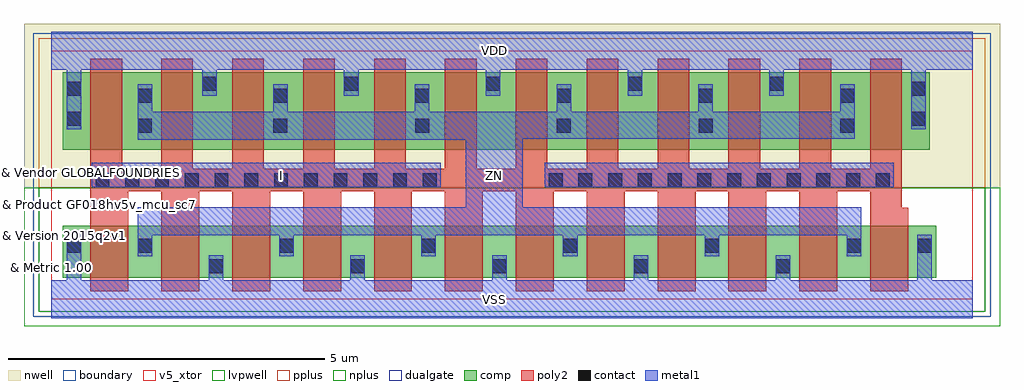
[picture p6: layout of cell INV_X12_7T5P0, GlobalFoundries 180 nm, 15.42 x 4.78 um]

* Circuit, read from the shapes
.subckt INV_X12_7T5P0 I VDD VSS ZN
XM1 ZN I VSS VSUBS nfet_05v0 w=0.82u l=0.6u m=12
XM2 ZN I VDD n1 pfet_05v0 w=1.22u l=0.5u m=12
.ends

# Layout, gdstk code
import gdstk
lib = gdstk.Library(unit=1e-6, precision=1e-09)
def R(c, l, rs):  # rectangles x0, y0, x1, y1
    for r in rs: c.add(gdstk.rectangle(r[:2], r[2:], *l))
def A(c, l, x, y, w, h, nx, ny, dx, dy):  # array of equal rectangles
    R(c, l, [(x+i*dx, y+j*dy, x+i*dx+w, y+j*dy+h) for i in range(nx) for j in range(ny)])
def P(c, l, *ps):  # polygons
    for p in ps: c.add(gdstk.Polygon(p, *l))
boundary = (0, 0)
nwell = (21, 0)
comp = (22, 0)
poly2 = (30, 0)
pplus = (31, 0)
nplus = (32, 0)
contact = (33, 0)
metal1 = (34, 0)
dualgate = (55, 0)
v5_xtor = (112, 1)
lvpwell = (204, 0)

inv_x12_7t5p0 = lib.new_cell('INV_X12_7T5P0')
R(inv_x12_7t5p0, boundary, [(0,0,14.56,3.92)])
R(inv_x12_7t5p0, nwell, [(-0.43,1.76,14.99,4.35)])
R(inv_x12_7t5p0, comp, [(0.18,0.34,13.98,1.16), (0.18,2.36,13.88,3.58)])
P(inv_x12_7t5p0, poly2, [(0.62,0.12),(1.22,0.12),(1.22,1.7),(1.74,1.7),(1.74,0.12),(2.34,0.12),(2.34,1.7),(2.86,1.7),(2.86,0.12),(3.46,0.12),(3.46,1.7),(3.98,1.7),(3.98,0.12),(4.58,0.12),(4.58,1.7),(5.1,1.7),(5.1,0.12),(5.7,0.12),(5.7,1.7),(6.22,1.7),(6.22,0.12),(6.82,0.12),(6.82,1.7),(7.34,1.7),(7.34,0.12),(7.94,0.12),(7.94,1.7),(8.46,1.7),(8.46,0.12),(9.06,0.12),(9.06,1.7),(9.58,1.7),(9.58,0.12),(10.18,0.12),(10.18,1.7),(10.7,1.7),(10.7,0.12),(11.3,0.12),(11.3,1.7),(11.82,1.7),(11.82,0.12),(12.42,0.12),(12.42,1.7),(12.94,1.7),(12.94,0.12),(13.54,0.12),(13.54,1.44),(13.44,1.44),(13.44,3.8),(12.94,3.8),(12.94,2.06),(12.32,2.06),(12.32,3.8),(11.82,3.8),(11.82,2.06),(11.2,2.06),(11.2,3.8),(10.7,3.8),(10.7,2.06),(10.08,2.06),(10.08,3.8),(9.58,3.8),(9.58,2.06),(8.96,2.06),(8.96,3.8),(8.46,3.8),(8.46,2.06),(7.84,2.06),(7.84,3.8),(7.34,3.8),(7.34,2.06),(6.72,2.06),(6.72,3.8),(6.22,3.8),(6.22,2.06),(5.6,2.06),(5.6,3.8),(5.1,3.8),(5.1,2.06),(4.48,2.06),(4.48,3.8),(3.98,3.8),(3.98,2.06),(3.36,2.06),(3.36,3.8),(2.86,3.8),(2.86,2.06),(2.24,2.06),(2.24,3.8),(1.74,3.8),(1.74,2.06),(1.12,2.06),(1.12,3.8),(0.62,3.8)])
R(inv_x12_7t5p0, pplus, [(-0.2,1.76,14.76,4.12)])
R(inv_x12_7t5p0, nplus, [(-0.2,-0.2,14.76,1.76)])
A(inv_x12_7t5p0, contact, 2.49, 0.41, 0.22, 0.22, 5, 1, 2.24, 0)
A(inv_x12_7t5p0, contact, 1.37, 0.735, 0.22, 0.22, 6, 1, 2.24, 0)
A(inv_x12_7t5p0, contact, 0.7, 1.77, 0.22, 0.22, 12, 1, 0.47, 0)
A(inv_x12_7t5p0, contact, 7.86, 1.77, 0.22, 0.22, 12, 1, 0.47, 0)
A(inv_x12_7t5p0, contact, 3.51, 2.63, 0.22, 0.22, 5, 2, 2.24, 0.47)
A(inv_x12_7t5p0, contact, 2.39, 3.29, 0.22, 0.22, 5, 1, 2.24, 0)
R(inv_x12_7t5p0, contact, [(0.25,0.735,0.47,0.955), (13.69,0.735,13.91,0.955), (1.37,2.63,1.59,2.85), (0.25,2.74,0.47,2.96), (13.59,2.74,13.81,2.96), (1.37,3.1,1.59,3.32), (0.25,3.21,0.47,3.43), (13.59,3.21,13.81,3.43)])
R(inv_x12_7t5p0, metal1, [(0.64,1.765,6.155,2.15), (7.8,1.765,13.31,2.15)])
P(inv_x12_7t5p0, metal1, [(1.365,2.52),(6.55,2.52),(6.55,1.45),(1.365,1.45),(1.365,0.675),(1.595,0.675),(1.595,1.01),(3.605,1.01),(3.605,0.675),(3.835,0.675),(3.835,1.01),(5.845,1.01),(5.845,0.675),(6.075,0.675),(6.075,1.01),(8.085,1.01),(8.085,0.675),(8.315,0.675),(8.315,1.01),(10.325,1.01),(10.325,0.675),(10.555,0.675),(10.555,1.01),(12.565,1.01),(12.565,0.675),(12.795,0.675),(12.795,1.45),(7.45,1.45),(7.45,2.535),(12.695,2.535),(12.695,3.39),(12.465,3.39),(12.465,2.96),(10.455,2.96),(10.455,3.39),(10.225,3.39),(10.225,2.96),(8.215,2.96),(8.215,3.39),(7.985,3.39),(7.985,2.96),(5.975,2.96),(5.975,3.39),(5.745,3.39),(5.745,2.96),(3.735,2.96),(3.735,3.39),(3.505,3.39),(3.505,2.96),(1.595,2.96),(1.595,3.39),(1.365,3.39)],
  [(0,-0.3),(14.56,-0.3),(14.56,0.3),(13.915,0.3),(13.915,1.015),(13.685,1.015),(13.685,0.3),(11.675,0.3),(11.675,0.69),(11.445,0.69),(11.445,0.3),(9.435,0.3),(9.435,0.69),(9.205,0.69),(9.205,0.3),(7.195,0.3),(7.195,0.69),(6.965,0.69),(6.965,0.3),(4.955,0.3),(4.955,0.69),(4.725,0.69),(4.725,0.3),(2.715,0.3),(2.715,0.69),(2.485,0.69),(2.485,0.3),(0.475,0.3),(0.475,1.015),(0.245,1.015),(0.245,0.3),(0,0.3)],
  [(0,3.62),(0.245,3.62),(0.245,2.68),(0.475,2.68),(0.475,3.62),(2.385,3.62),(2.385,3.21),(2.615,3.21),(2.615,3.62),(4.625,3.62),(4.625,3.21),(4.855,3.21),(4.855,3.62),(6.865,3.62),(6.865,3.21),(7.095,3.21),(7.095,3.62),(9.105,3.62),(9.105,3.21),(9.335,3.21),(9.335,3.62),(11.345,3.62),(11.345,3.21),(11.575,3.21),(11.575,3.62),(13.585,3.62),(13.585,2.68),(13.815,2.68),(13.815,3.62),(14.56,3.62),(14.56,4.22),(0,4.22)])
R(inv_x12_7t5p0, dualgate, [(-0.28,-0.28,14.84,4.2)])
R(inv_x12_7t5p0, v5_xtor, [(0,0,14.56,3.92)])
R(inv_x12_7t5p0, lvpwell, [(-0.43,-0.43,14.99,1.76)])
inv_x12_7t5p0.add(gdstk.Label('VSS', (7,-0.005), layer=34, texttype=10))
inv_x12_7t5p0.add(gdstk.Label('ZN', (7,1.96), layer=34, texttype=10))
inv_x12_7t5p0.add(gdstk.Label('I', (3.64,1.96), layer=34, texttype=10))
inv_x12_7t5p0.add(gdstk.Label('VDD', (7,3.925), layer=34, texttype=10))
inv_x12_7t5p0.add(gdstk.Label('& Vendor GLOBALFOUNDRIES', (0,2), layer=63, texttype=63))
inv_x12_7t5p0.add(gdstk.Label('& Product GF018hv5v_mcu_sc7', (0,1.5), layer=63, texttype=63))
inv_x12_7t5p0.add(gdstk.Label('& Version 2015q2v1', (0,1), layer=63, texttype=63))
inv_x12_7t5p0.add(gdstk.Label('& Metric 1.00', (0,0.5), layer=63, texttype=63))

lib.write_gds('INV_X12_7T5P0.gds')
